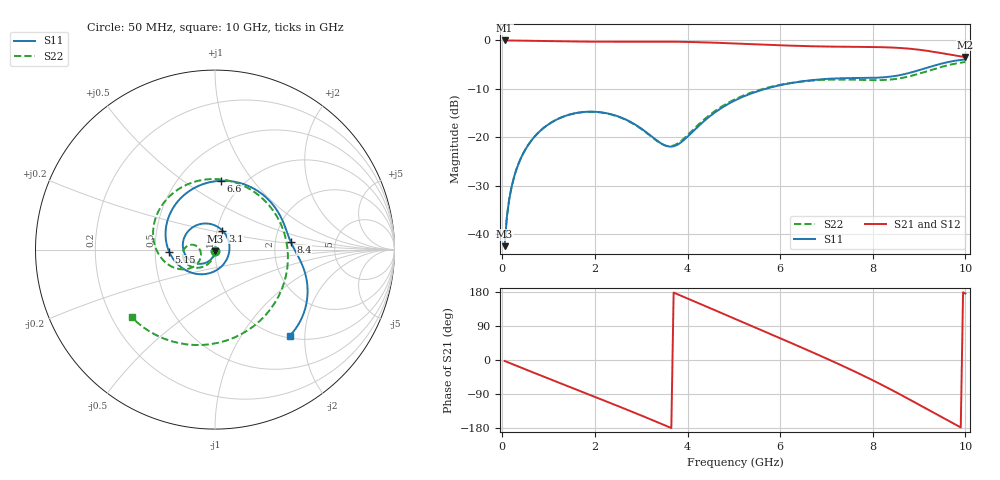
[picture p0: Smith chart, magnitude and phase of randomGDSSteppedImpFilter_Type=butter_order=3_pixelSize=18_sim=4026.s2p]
! freq	dB(S11)	phase(S11)	dB(S12)	phase(S12)
!  dB(S21)	phase(S21)	dB(S22)	phase(S22)
!S-par simulation data
#  GHz  S  DB  R 50
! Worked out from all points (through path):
!   200 points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, 50 MHz to 10 GHz, reference 50 ohm
!   highest |S21| = -0.01 dB at 50 MHz (marker M1); lowest = -3.4 dB at 10 GHz (marker M2)
!   group delay of S21, straight-line fit = 149 ps
!   lowest |S11| = -42.5 dB at 50 MHz (marker M3), VSWR 1.02, Z = 49.9 - j0.748 ohm
!   |S11| at or under -10 dB: start of sweep to 5.685 GHz
!   |S22| runs from -42.3 to -4.5 dB; largest |S21 - S12| = 0
!   S11 on the Smith chart (normalised r, x): 50 MHz: 1.00, -0.01; 3.1 GHz: 1.06, +0.23; 5.15 GHz: 0.59, -0.01; 6.6 GHz: 0.79, +0.71; 8.4 GHz: 2.44, +0.26; 10 GHz: 1.05, -1.68
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0.05  -42.49 -93.6  -0.01 -2.5  -0.01 -2.5  -42.31 -91.9
0.1  -36.36 -96.7  -0.02 -5.0  -0.02 -5.0  -36.29 -94.4
0.2  -30.27 -102.2  -0.03 -9.9  -0.03 -9.9  -30.27 -98.8
0.5  -22.50 -119.0  -0.06 -24.7  -0.06 -24.7  -22.50 -111.5
1.15  -16.46 -156.0  -0.16 -56.4  -0.16 -56.4  -16.45 -138.1
1.75  -14.79 168.7  -0.24 -85.2  -0.24 -85.2  -14.80 -160.9
2.4  -15.38 127.1  -0.26 -116.7  -0.26 -116.7  -15.43 177.8
3.1  -18.89 68.5  -0.24 -151.4  -0.24 -151.4  -18.99 167.9
3.4  -21.08 30.0  -0.24 -166.7  -0.24 -166.7  -21.14 177.0
3.75  -21.69 -30.4  -0.27 175.3  -0.27 175.3  -21.48 -158.1
4.15  -18.49 -89.6  -0.34 154.5  -0.34 154.5  -18.16 -141.9
5.05  -12.27 -170.2  -0.64 107.4  -0.64 107.4  -12.04 -156.4
5.15  -11.83 -177.6  -0.68 102.1  -0.68 102.1  -11.61 -159.5
5.85  -9.58 133.3  -0.95 65.4  -0.95 65.4  -9.47 176.1
6.6  -8.30 85.3  -1.18 25.6  -1.18 25.6  -8.36 144.5
6.7  -8.19 79.3  -1.21 20.2  -1.21 20.2  -8.28 139.7
7.5  -7.78 37.1  -1.32 -24.1  -1.32 -24.1  -8.10 93.8
8.35  -7.51 7.1  -1.44 -75.3  -1.44 -75.3  -8.11 21.7
8.4  -7.45 5.8  -1.46 -78.5  -1.46 -78.5  -8.07 16.6
8.85  -6.56 -5.6  -1.76 -108.0  -1.76 -108.0  -7.26 -31.3
9.35  -5.14 -21.5  -2.41 -141.6  -2.41 -141.6  -5.84 -82.9
10  -3.94 -48.9  -3.43 175.4  -3.43 175.4  -4.47 -141.0
